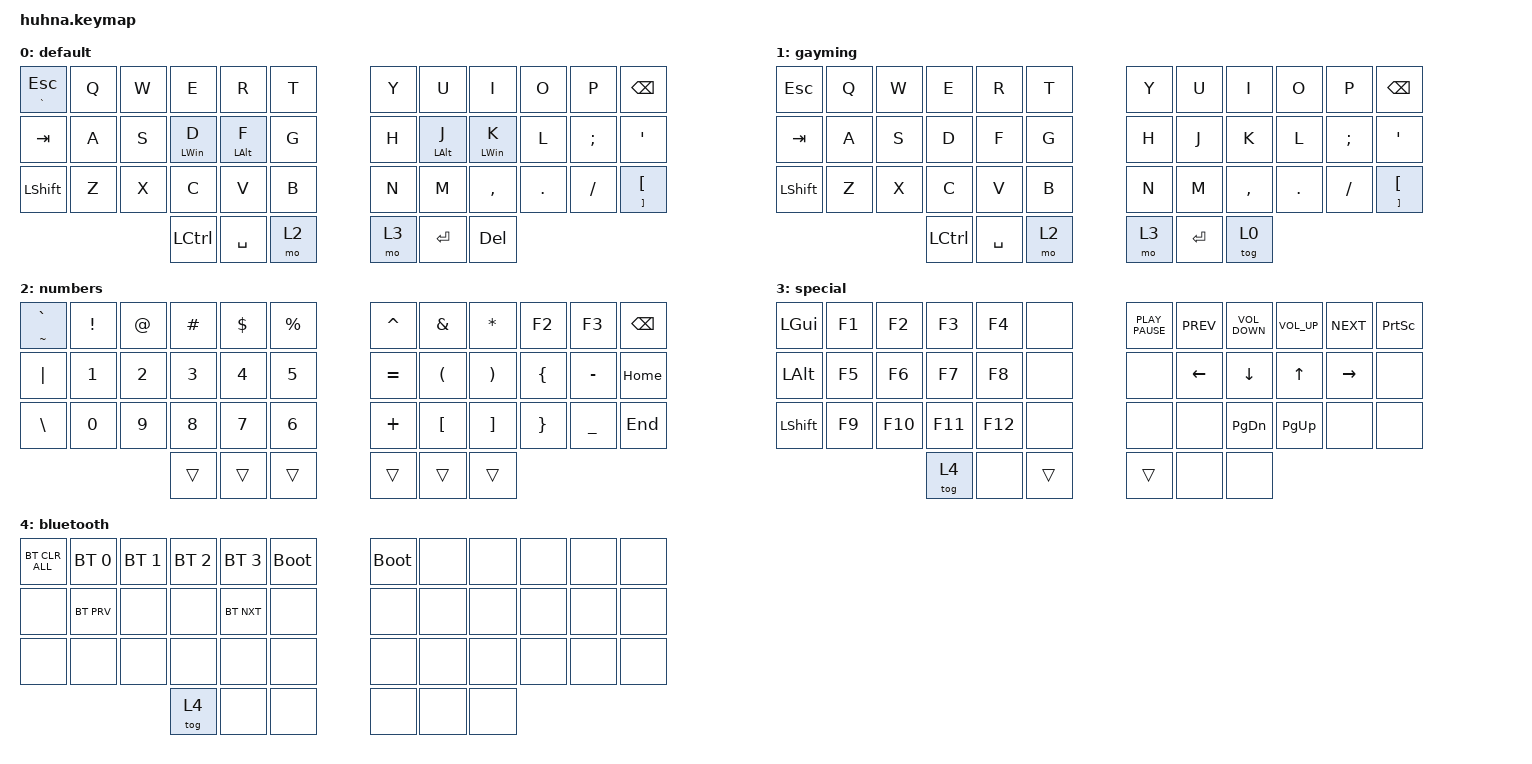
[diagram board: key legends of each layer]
/*
 * Copyright (c) 2020 The ZMK Contributors
 *
 * SPDX-License-Identifier: MIT
 */

#include <behaviors.dtsi>
#include <dt-bindings/zmk/bt.h>
#include <dt-bindings/zmk/keys.h>

/ {
    behaviors {
        HRM: home_row_mods {
            compatible = "zmk,behavior-hold-tap";
            label = "HRM";
            bindings = <&kp>, <&kp>;

            #binding-cells = <2>;
            tapping-term-ms = <280>;
            require-prior-idle-ms = <150>;
            flavor = "balanced";
            hold-trigger-on-release;
        };
    };

    combos {
        compatible = "zmk,combos";

        goto_gayming {
            bindings = <&tog 1>;
            key-positions = <11 12>;
        };
    };

    keymap {
        compatible = "zmk,keymap";

        default {
            bindings = <
&mt GRAVE ESCAPE  &kp Q  &kp W  &kp E            &kp R            &kp T    &kp Y  &kp U            &kp I            &kp O    &kp P     &kp BACKSPACE
&kp TAB           &kp A  &kp S  &HRM LEFT_WIN D  &HRM LEFT_ALT F  &kp G    &kp H  &HRM LEFT_ALT J  &HRM LEFT_WIN K  &kp L    &kp SEMI  &kp SQT
&kp LSHFT         &kp Z  &kp X  &kp C            &kp V            &kp B    &kp N  &kp M            &kp COMMA        &kp DOT  &kp FSLH  &mt RIGHT_BRACKET LEFT_BRACKET
                                &kp LCTRL        &kp SPACE        &mo 2    &mo 3  &kp ENTER        &kp DELETE
            >;
        };

        gayming {
            bindings = <
&kp ESCAPE      &kp Q  &kp W  &kp E             &kp R      &kp T    &kp Y  &kp U      &kp I      &kp O       &kp P          &kp BACKSPACE
&kp TAB         &kp A  &kp S  &kp D             &kp F      &kp G    &kp H  &kp J      &kp K      &kp L       &kp SEMICOLON  &kp SQT
&kp LEFT_SHIFT  &kp Z  &kp X  &kp C             &kp V      &kp B    &kp N  &kp M      &kp COMMA  &kp PERIOD  &kp SLASH      &mt RIGHT_BRACKET LEFT_BRACKET
                              &kp LEFT_CONTROL  &kp SPACE  &mo 2    &mo 3  &kp ENTER  &tog 0
            >;
        };

        numbers {
            bindings = <
&mt TILDE GRAVE  &kp EXCLAMATION  &kp AT_SIGN  &kp HASH  &kp DOLLAR  &kp PERCENT    &kp CARET  &kp AMPERSAND         &kp ASTERISK           &kp F2           &kp F3          &kp BACKSPACE
&kp PIPE         &kp N1           &kp N2       &kp N3    &kp N4      &kp N5         &kp EQUAL  &kp LEFT_PARENTHESIS  &kp RIGHT_PARENTHESIS  &kp LEFT_BRACE   &kp MINUS       &kp HOME
&kp BACKSLASH    &kp N0           &kp N9       &kp N8    &kp N7      &kp N6         &kp PLUS   &kp LEFT_BRACKET      &kp RIGHT_BRACKET      &kp RIGHT_BRACE  &kp UNDERSCORE  &kp END
                                               &trans    &trans      &trans         &trans     &trans                &trans
            >;
        };

        special {
            bindings = <
&kp LEFT_GUI    &kp F1  &kp F2   &kp F3   &kp F4   &none     &kp K_PLAY_PAUSE  &kp K_PREV      &kp K_VOLUME_DOWN  &kp C_VOLUME_UP  &kp K_NEXT  &kp PRINTSCREEN
&kp LEFT_ALT    &kp F5  &kp F6   &kp F7   &kp F8   &none     &none             &kp LEFT_ARROW  &kp DOWN           &kp UP_ARROW     &kp RIGHT   &none
&kp LEFT_SHIFT  &kp F9  &kp F10  &kp F11  &kp F12  &none     &none             &none           &kp PAGE_DOWN      &kp PAGE_UP      &none       &none
                                 &tog 4   &none    &trans    &trans            &none           &none
            >;
        };

        bluetooth {
            bindings = <
&bt BT_CLR_ALL  &bt BT_SEL 0  &bt BT_SEL 1  &bt BT_SEL 2  &bt BT_SEL 3  &bootloader    &bootloader  &none  &none  &none  &none  &none
&none           &bt BT_PRV    &none         &none         &bt BT_NXT    &none          &none        &none  &none  &none  &none  &none
&none           &none         &none         &none         &none         &none          &none        &none  &none  &none  &none  &none
                                            &tog 4        &none         &none          &none        &none  &none
            >;
        };
    };
};
